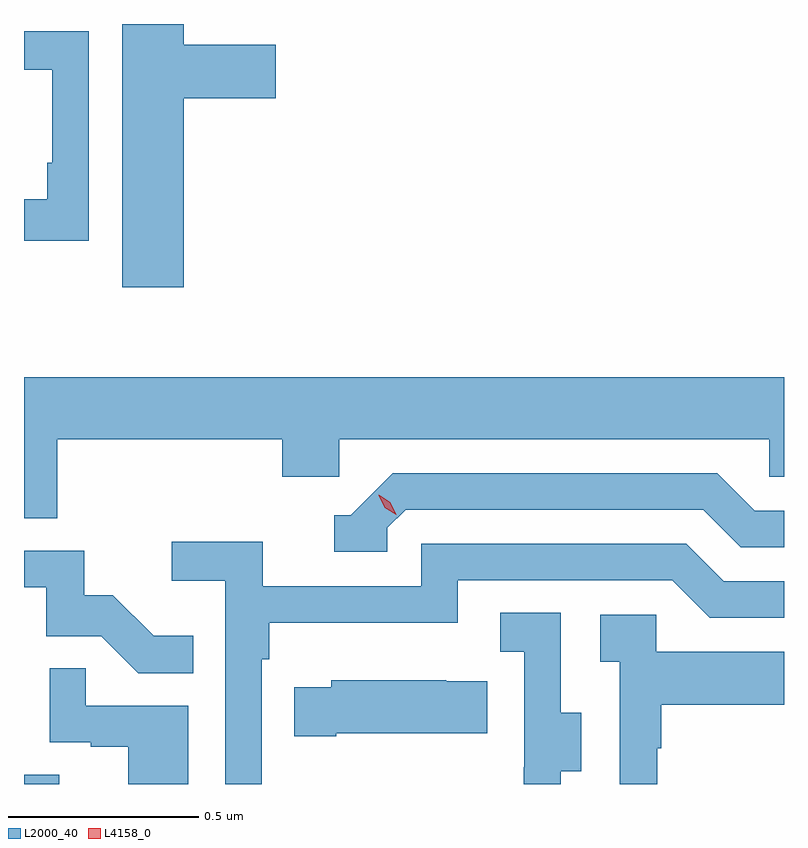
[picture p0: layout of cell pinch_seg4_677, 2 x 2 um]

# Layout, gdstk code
import gdstk
lib = gdstk.Library(unit=1e-6, precision=1e-09)
def R(c, l, rs):  # rectangles x0, y0, x1, y1
    for r in rs: c.add(gdstk.rectangle(r[:2], r[2:], *l))
def P(c, l, *ps):  # polygons
    for p in ps: c.add(gdstk.Polygon(p, *l))
L2000_40 = (2000, 40)
L4158_0 = (4158, 0)

pinch_seg4_677 = lib.new_cell('pinch_seg4_677')
R(pinch_seg4_677, L2000_40, [(1118.782,766.609,1118.875,766.634)])
P(pinch_seg4_677, L2000_40, [(1119.202,768.413),(1119.445,768.413),(1119.445,768.555),(1119.202,768.555),(1119.202,768.609),(1119.041,768.609),(1119.041,767.916),(1119.202,767.916)],
  [(1118.952,768.59),(1118.782,768.59),(1118.782,768.489),(1118.856,768.489),(1118.856,768.244),(1118.843,768.244),(1118.843,768.148),(1118.782,768.148),(1118.782,768.039),(1118.952,768.039)],
  [(1118.782,767.308),(1118.87,767.308),(1118.87,767.516),(1119.461,767.516),(1119.461,767.418),(1119.612,767.418),(1119.612,767.516),(1120.743,767.516),(1120.743,767.418),(1120.782,767.418),(1120.782,767.68),(1118.782,767.68)],
  [(1119.738,767.283),(1119.786,767.331),(1120.569,767.331),(1120.668,767.232),(1120.782,767.232),(1120.782,767.328),(1120.705,767.328),(1120.606,767.427),(1119.753,767.427),(1119.642,767.316),(1119.599,767.316),(1119.599,767.22),(1119.738,767.22)],
  [(1119.408,766.937),(1119.428,766.937),(1119.428,767.033),(1119.924,767.033),(1119.924,767.145),(1120.488,767.145),(1120.587,767.046),(1120.782,767.046),(1120.782,767.142),(1120.624,767.142),(1120.525,767.241),(1119.828,767.241),(1119.828,767.13),(1119.41,767.13),(1119.41,767.246),(1119.171,767.246),(1119.171,767.144),(1119.312,767.144),(1119.312,766.609),(1119.408,766.609)],
  [(1119.227,766.999),(1119.123,766.999),(1119.016,767.106),(1118.94,767.106),(1118.94,767.223),(1118.782,767.223),(1118.782,767.127),(1118.841,767.127),(1118.841,766.998),(1118.985,766.998),(1119.083,766.9),(1119.227,766.9)],
  [(1120.195,766.642),(1120.249,766.642),(1120.249,766.797),(1120.194,766.797),(1120.194,767.06),(1120.035,767.06),(1120.035,766.957),(1120.098,766.957),(1120.098,766.653),(1120.097,766.653),(1120.097,766.609),(1120.195,766.609)],
  [(1120.449,766.703),(1120.459,766.703),(1120.459,766.817),(1120.782,766.817),(1120.782,766.957),(1120.446,766.957),(1120.446,767.055),(1120.299,767.055),(1120.299,766.931),(1120.35,766.931),(1120.35,766.609),(1120.449,766.609)],
  [(1119.214,766.815),(1118.945,766.815),(1118.945,766.913),(1118.85,766.913),(1118.85,766.719),(1118.957,766.719),(1118.957,766.707),(1119.056,766.707),(1119.056,766.609),(1119.214,766.609)],
  [(1119.604,766.742),(1120.001,766.742),(1120.001,766.879),(1119.893,766.879),(1119.893,766.882),(1119.591,766.882),(1119.591,766.864),(1119.493,766.864),(1119.493,766.735),(1119.604,766.735)])
P(pinch_seg4_677, L4158_0, [(1119.762,767.317),(1119.731,767.336),(1119.715,767.369),(1119.715,767.37),(1119.716,767.37),(1119.746,767.35),(1119.762,767.317),(1119.762,767.317)])

lib.write_gds('pinch_seg4_677.gds')
